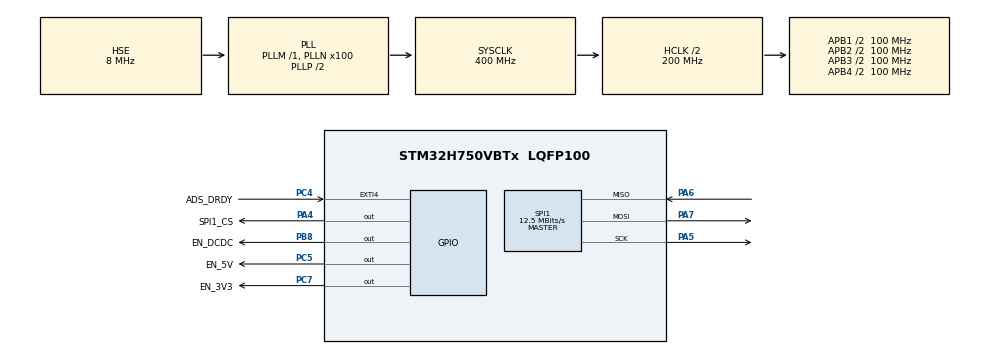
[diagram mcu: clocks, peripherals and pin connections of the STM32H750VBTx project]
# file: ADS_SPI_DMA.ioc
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CORTEX_M7.AccessPermission-Cortex_Memory_Protection_Unit_Region0_Settings=MPU_REGION_PRIV_RO
CORTEX_M7.BaseAddress-Cortex_Memory_Protection_Unit_Region0_Settings=0x08000000
CORTEX_M7.Enable-Cortex_Memory_Protection_Unit_Region0_Settings=MPU_REGION_ENABLE
CORTEX_M7.IsCacheable-Cortex_Memory_Protection_Unit_Region0_Settings=MPU_ACCESS_CACHEABLE
CORTEX_M7.MPU_Control=MPU_PRIVILEGED_DEFAULT
CORTEX_M7.Size-Cortex_Memory_Protection_Unit_Region0_Settings=MPU_REGION_SIZE_128KB
CORTEX_M7.TypeExtField-Cortex_Memory_Protection_Unit_Region0_Settings=MPU_TEX_LEVEL1
Dma.Request0=SPI1_RX
Dma.SPI1_RX.0.Direction=DMA_PERIPH_TO_MEMORY
Dma.SPI1_RX.0.EventEnable=DISABLE
Dma.SPI1_RX.0.FIFOMode=DMA_FIFOMODE_DISABLE
Dma.SPI1_RX.0.Instance=DMA1_Stream1
Dma.SPI1_RX.0.MemDataAlignment=DMA_MDATAALIGN_BYTE
Dma.SPI1_RX.0.MemInc=DMA_MINC_ENABLE
Dma.SPI1_RX.0.Mode=DMA_NORMAL
Dma.SPI1_RX.0.PeriphDataAlignment=DMA_PDATAALIGN_BYTE
Dma.SPI1_RX.0.PeriphInc=DMA_PINC_DISABLE
Dma.SPI1_RX.0.Polarity=HAL_DMAMUX_REQ_GEN_RISING
Dma.SPI1_RX.0.Priority=DMA_PRIORITY_LOW
Dma.SPI1_RX.0.RequestNumber=1
Dma.SPI1_RX.0.SignalID=NONE
Dma.SPI1_RX.0.SyncEnable=DISABLE
Dma.SPI1_RX.0.SyncPolarity=HAL_DMAMUX_SYNC_NO_EVENT
Dma.SPI1_RX.0.SyncRequestNumber=1
Dma.SPI1_RX.0.SyncSignalID=NONE
Mcu.Family=STM32H7
Mcu.Name=STM32H750VBTx
Mcu.Package=LQFP100
NVIC.DMA1_Stream1_IRQn=true\:5\:0\:true\:false\:true\:false\:true\:true
NVIC.EXTI4_IRQn=true\:6\:0\:true\:false\:true\:true\:true\:false
NVIC.PriorityGroup=NVIC_PRIORITYGROUP_4
NVIC.SPI1_IRQn=true\:5\:0\:true\:false\:true\:true\:true\:true
PA13\ (JTMS/SWDIO).Mode=Serial_Wire
PA13\ (JTMS/SWDIO).Signal=DEBUG_JTMS-SWDIO
PA14\ (JTCK/SWCLK).Mode=Serial_Wire
PA14\ (JTCK/SWCLK).Signal=DEBUG_JTCK-SWCLK
PA4.GPIO_Label=SPI1_CS
PA4.PinState=GPIO_PIN_SET
PA4.Signal=GPIO_Output
PA5.Mode=Full_Duplex_Master
PA5.Signal=SPI1_SCK
PA6.Mode=Full_Duplex_Master
PA6.Signal=SPI1_MISO
PA7.Mode=Full_Duplex_Master
PA7.Signal=SPI1_MOSI
PB8.GPIO_Label=EN_DCDC
PB8.Signal=GPIO_Output
PC4.GPIO_Label=ADS_DRDY
PC4.GPIO_ModeDefaultEXTI=GPIO_MODE_IT_FALLING
PC4.Signal=GPXTI4
PC5.GPIO_Label=EN_5V
PC5.Signal=GPIO_Output
PC7.GPIO_Label=EN_3V3
PC7.Signal=GPIO_Output
PH0-OSC_IN\ (PH0).Mode=HSE-External-Oscillator
PH0-OSC_IN\ (PH0).Signal=RCC_OSC_IN
PH1-OSC_OUT\ (PH1).Mode=HSE-External-Oscillator
PH1-OSC_OUT\ (PH1).Signal=RCC_OSC_OUT
ProjectManager.HeapSize=0x200
ProjectManager.StackSize=0x2000
ProjectManager.TargetToolchain=MDK-ARM V5.32
RCC.ADCFreq_Value=16125000
RCC.APB1Freq_Value=100000000
RCC.APB2Freq_Value=100000000
RCC.APB3Freq_Value=100000000
RCC.APB4Freq_Value=100000000
RCC.CortexFreq_Value=400000000
RCC.D1PPRE=RCC_APB3_DIV2
RCC.D2PPRE1=RCC_APB1_DIV2
RCC.D2PPRE2=RCC_APB2_DIV2
RCC.D3PPRE=RCC_APB4_DIV2
RCC.DIVM1=1
RCC.DIVN1=100
RCC.DIVQ1=4
RCC.HCLKFreq_Value=200000000
RCC.HPRE=RCC_HCLK_DIV2
RCC.HSE_VALUE=8000000
RCC.PLLFRACN=0
RCC.PLLSourceVirtual=RCC_PLLSOURCE_HSE
RCC.PWR_Regulator_Voltage_Scale=PWR_REGULATOR_VOLTAGE_SCALE1
RCC.SYSCLKFreq_VALUE=400000000
RCC.SYSCLKSource=RCC_SYSCLKSOURCE_PLLCLK
RCC.USBFreq_Value=200000000
SPI1.BaudRatePrescaler=SPI_BAUDRATEPRESCALER_16
SPI1.CLKPhase=SPI_PHASE_2EDGE
SPI1.CalculateBaudRate=12.5 MBits/s
SPI1.DataSize=SPI_DATASIZE_8BIT
SPI1.Direction=SPI_DIRECTION_2LINES
SPI1.Mode=SPI_MODE_MASTER
SPI1.VirtualType=VM_MASTER
VP_MEMORYMAP_VS_MEMORYMAP.Mode=CurAppReg
board=custom

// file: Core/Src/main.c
/* USER CODE BEGIN Header */
/**
  ******************************************************************************
  * @file           : main.c
  * @brief          : Main program body
  ******************************************************************************
  * @attention
  *
  * Copyright (c) 2025 STMicroelectronics.
  * All rights reserved.
  *
  * This software is licensed under terms that can be found in the LICENSE file
  * in the root directory of this software component.
  * If no LICENSE file comes with this software, it is provided AS-IS.
  *
  ******************************************************************************
  */
/* USER CODE END Header */
#include "main.h"
#include "dma.h"
#include "memorymap.h"
#include "spi.h"
#include "gpio.h"

/* USER CODE BEGIN Includes */
#include "ADS1299_Library.h"
#include "lwrb.h"
/* USER CODE END Includes */

/* USER CODE BEGIN PV */
		static size_t full_len;
		/** Ringbuf */
		lwrb_t lwrb_buff;
      __attribute__((section (".RAM_D1")))		uint8_t src_buff_data[450*1024];
    /*�洢ÿ��DRDY�ɼ�������*/
    extern uint8_t eCon_Message[150];
/* USER CODE END PV */

void SystemClock_Config(void);
static void MPU_Config(void);

int main(void)
{

  /* MPU Configuration--------------------------------------------------------*/
  MPU_Config();

  /* MCU Configuration--------------------------------------------------------*/

  /* Reset of all peripherals, Initializes the Flash interface and the Systick. */
  HAL_Init();

  /* Configure the system clock */
  SystemClock_Config();

  /* Initialize all configured peripherals */
  MX_GPIO_Init();
  MX_DMA_Init();
  MX_SPI1_Init();
  /* USER CODE BEGIN 2 */
		/*5V,3V3,WIFI电源打开*/
		HAL_GPIO_WritePin(EN_5V_GPIO_Port, EN_5V_Pin, GPIO_PIN_SET);
		HAL_Delay(20);
		HAL_GPIO_WritePin(EN_3V3_GPIO_Port, EN_3V3_Pin, GPIO_PIN_SET);//3V3电源开启后，wifi，4432，1299的中断会pending
		HAL_Delay(30);
//		HAL_GPIO_WritePin(EN_DCDC_GPIO_Port, EN_DCDC_Pin, GPIO_PIN_SET);
//		HAL_Delay(100);
		/*lwrb初始化*/
		lwrb_init(&lwrb_buff, src_buff_data, sizeof(src_buff_data));
		/*Ads1299中断配置及初始化*/
		__HAL_GPIO_EXTI_CLEAR_IT(ADS_DRDY_Pin);
		NVIC_ClearPendingIRQ(EXTI4_IRQn);
		ADS_state_choose(WAVE, SAMPLE_RATE_500);//进入低功耗模式
  /* USER CODE END 2 */

  /* Infinite loop */
  while (1)
  {

  }
}

void SystemClock_Config(void)
{
  RCC_OscInitTypeDef RCC_OscInitStruct = {0};
  RCC_ClkInitTypeDef RCC_ClkInitStruct = {0};

  /** Supply configuration update enable
  */
  HAL_PWREx_ConfigSupply(PWR_LDO_SUPPLY);

  /** Configure the main internal regulator output voltage
  */
  __HAL_PWR_VOLTAGESCALING_CONFIG(PWR_REGULATOR_VOLTAGE_SCALE1);

  while(!__HAL_PWR_GET_FLAG(PWR_FLAG_VOSRDY)) {}

  /** Initializes the RCC Oscillators according to the specified parameters
  * in the RCC_OscInitTypeDef structure.
  */
  RCC_OscInitStruct.OscillatorType = RCC_OSCILLATORTYPE_HSE;
  RCC_OscInitStruct.HSEState = RCC_HSE_ON;
  RCC_OscInitStruct.PLL.PLLState = RCC_PLL_ON;
  RCC_OscInitStruct.PLL.PLLSource = RCC_PLLSOURCE_HSE;
  RCC_OscInitStruct.PLL.PLLM = 1;
  RCC_OscInitStruct.PLL.PLLN = 100;
  RCC_OscInitStruct.PLL.PLLP = 2;
  RCC_OscInitStruct.PLL.PLLQ = 4;
  RCC_OscInitStruct.PLL.PLLR = 2;
  RCC_OscInitStruct.PLL.PLLRGE = RCC_PLL1VCIRANGE_3;
  RCC_OscInitStruct.PLL.PLLVCOSEL = RCC_PLL1VCOWIDE;
  RCC_OscInitStruct.PLL.PLLFRACN = 0;
  if (HAL_RCC_OscConfig(&RCC_OscInitStruct) != HAL_OK)
  {
    Error_Handler();
  }

  /** Initializes the CPU, AHB and APB buses clocks
  */
  RCC_ClkInitStruct.ClockType = RCC_CLOCKTYPE_HCLK|RCC_CLOCKTYPE_SYSCLK
                              |RCC_CLOCKTYPE_PCLK1|RCC_CLOCKTYPE_PCLK2
                              |RCC_CLOCKTYPE_D3PCLK1|RCC_CLOCKTYPE_D1PCLK1;
  RCC_ClkInitStruct.SYSCLKSource = RCC_SYSCLKSOURCE_PLLCLK;
  RCC_ClkInitStruct.SYSCLKDivider = RCC_SYSCLK_DIV1;
  RCC_ClkInitStruct.AHBCLKDivider = RCC_HCLK_DIV2;
  RCC_ClkInitStruct.APB3CLKDivider = RCC_APB3_DIV2;
  RCC_ClkInitStruct.APB1CLKDivider = RCC_APB1_DIV2;
  RCC_ClkInitStruct.APB2CLKDivider = RCC_APB2_DIV2;
  RCC_ClkInitStruct.APB4CLKDivider = RCC_APB4_DIV2;

  if (HAL_RCC_ClockConfig(&RCC_ClkInitStruct, FLASH_LATENCY_2) != HAL_OK)
  {
    Error_Handler();
  }
}

/* USER CODE BEGIN 4 */
/**
 * 外部引脚中断
 * */
void HAL_GPIO_EXTI_Callback(uint16_t GPIO_Pin)
{
    /*ADS1299中断*/
    if(GPIO_Pin == ADS_DRDY_Pin)
    {
       updateBoardData();
    }
}
/* USER CODE END 4 */

 /* MPU Configuration */

void MPU_Config(void)
{
  MPU_Region_InitTypeDef MPU_InitStruct = {0};

  /* Disables the MPU */
  HAL_MPU_Disable();

  /** Initializes and configures the Region and the memory to be protected
  */
  MPU_InitStruct.Enable = MPU_REGION_ENABLE;
  MPU_InitStruct.Number = MPU_REGION_NUMBER0;
  MPU_InitStruct.BaseAddress = 0x08000000;
  MPU_InitStruct.Size = MPU_REGION_SIZE_128KB;
  MPU_InitStruct.SubRegionDisable = 0x0;
  MPU_InitStruct.TypeExtField = MPU_TEX_LEVEL1;
  MPU_InitStruct.AccessPermission = MPU_REGION_PRIV_RO;
  MPU_InitStruct.DisableExec = MPU_INSTRUCTION_ACCESS_ENABLE;
  MPU_InitStruct.IsShareable = MPU_ACCESS_NOT_SHAREABLE;
  MPU_InitStruct.IsCacheable = MPU_ACCESS_CACHEABLE;
  MPU_InitStruct.IsBufferable = MPU_ACCESS_NOT_BUFFERABLE;

  HAL_MPU_ConfigRegion(&MPU_InitStruct);
  /* Enables the MPU */
  HAL_MPU_Enable(MPU_PRIVILEGED_DEFAULT);

}

void Error_Handler(void)
{
  /* USER CODE BEGIN Error_Handler_Debug */
  /* User can add his own implementation to report the HAL error return state */
//  __disable_irq();
  while (1)
  {
  }
  /* USER CODE END Error_Handler_Debug */
}
